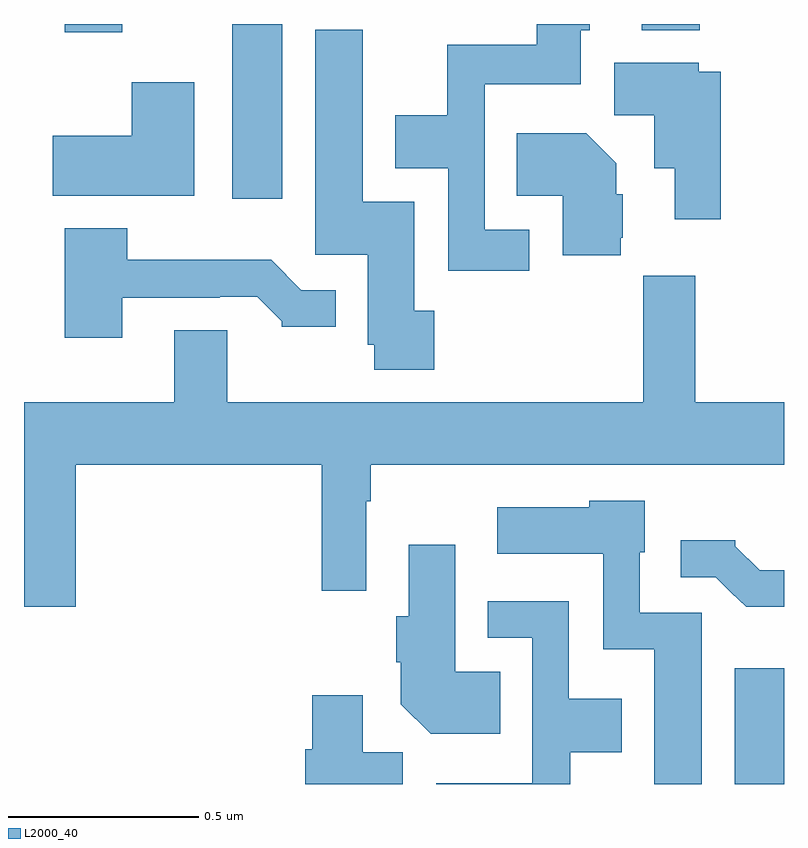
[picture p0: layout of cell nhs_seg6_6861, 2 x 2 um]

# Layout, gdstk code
import gdstk
lib = gdstk.Library(unit=1e-6, precision=1e-09)
def R(c, l, rs):  # rectangles x0, y0, x1, y1
    for r in rs: c.add(gdstk.rectangle(r[:2], r[2:], *l))
def P(c, l, *ps):  # polygons
    for p in ps: c.add(gdstk.Polygon(p, *l))
L2000_40 = (2000, 40)

nhs_seg6_6861 = lib.new_cell('nhs_seg6_6861')
R(nhs_seg6_6861, L2000_40, [(202.871,942.5,203,942.805), (201.548,944.04,201.679,944.5), (201.107,944.478,201.259,944.5), (202.625,944.483,202.778,944.5)])
P(nhs_seg6_6861, L2000_40, [(202.33,943.959),(202.212,943.959),(202.212,944.342),(202.465,944.342),(202.465,944.484),(202.489,944.484),(202.489,944.5),(202.349,944.5),(202.349,944.446),(202.114,944.446),(202.114,944.26),(201.977,944.26),(201.977,944.12),(202.116,944.12),(202.116,943.851),(202.33,943.851)],
  [(202.079,943.746),(202.027,943.746),(202.027,944.032),(201.892,944.032),(201.892,944.485),(201.767,944.485),(201.767,943.893),(201.905,943.893),(201.905,943.656),(201.922,943.656),(201.922,943.59),(202.079,943.59)],
  [(202.834,944.374),(202.776,944.374),(202.776,944.398),(202.553,944.398),(202.553,944.26),(202.658,944.26),(202.658,944.12),(202.712,944.12),(202.712,943.986),(202.834,943.986)],
  [(201.448,944.347),(201.284,944.347),(201.284,944.206),(201.075,944.206),(201.075,944.048),(201.448,944.048)],
  [(202.57,943.938),(202.576,943.938),(202.576,944.052),(202.558,944.052),(202.558,944.134),(202.48,944.212),(202.297,944.212),(202.297,944.048),(202.418,944.048),(202.418,943.891),(202.57,943.891)],
  [(201.259,943.779),(201.515,943.779),(201.515,943.782),(201.614,943.782),(201.678,943.718),(201.678,943.703),(201.82,943.703),(201.82,943.8),(201.729,943.8),(201.651,943.879),(201.272,943.879),(201.272,943.963),(201.107,943.963),(201.107,943.674),(201.259,943.674)],
  [(201.136,943.34),(201.784,943.34),(201.784,943.008),(201.9,943.008),(201.9,943.244),(201.913,943.244),(201.913,943.34),(203,943.34),(203,943.504),(202.766,943.504),(202.766,943.837),(202.63,943.837),(202.63,943.504),(201.535,943.504),(201.535,943.694),(201.395,943.694),(201.395,943.504),(201,943.504),(201,942.966),(201.136,942.966)],
  [(202.783,942.951),(202.62,942.951),(202.62,943.11),(202.633,943.11),(202.633,943.246),(202.488,943.246),(202.488,943.228),(202.245,943.228),(202.245,943.106),(202.524,943.106),(202.524,942.854),(202.658,942.854),(202.658,942.5),(202.783,942.5)],
  [(203,943.062),(202.936,943.062),(202.872,943.126),(202.872,943.141),(202.728,943.141),(202.728,943.044),(202.821,943.044),(202.86,943.005),(202.9,942.966),(203,942.966)],
  [(202.253,942.796),(202.135,942.796),(202.135,943.129),(202.013,943.129),(202.013,942.942),(201.98,942.942),(201.98,942.82),(201.992,942.82),(201.992,942.71),(202.07,942.632),(202.253,942.632)],
  [(202.437,942.584),(202.573,942.584),(202.573,942.724),(202.434,942.724),(202.434,942.981),(202.221,942.981),(202.221,942.885),(202.338,942.885),(202.338,942.502),(202.085,942.502),(202.085,942.5),(202.437,942.5)],
  [(201.997,942.584),(201.892,942.584),(201.892,942.733),(201.758,942.733),(201.758,942.591),(201.74,942.591),(201.74,942.5),(201.997,942.5)])

lib.write_gds('nhs_seg6_6861.gds')
